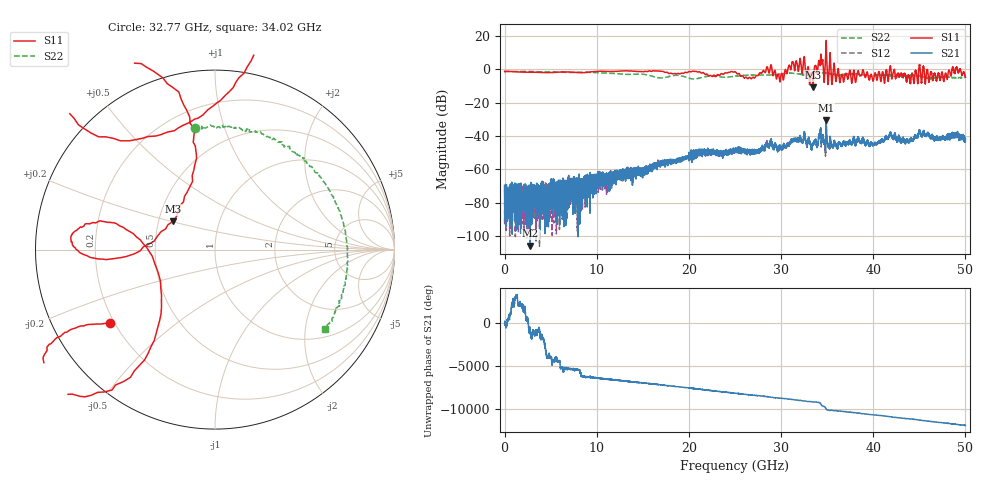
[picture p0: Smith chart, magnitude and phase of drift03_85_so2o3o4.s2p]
!Created with skrf (http://scikit-rf.org).
# Hz S RI R 50.0
!freq ReS11 ImS11 ReS21 ImS21 ReS12 ImS12 ReS22 ImS22
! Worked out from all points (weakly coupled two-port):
!   10001 points, 300 kHz to 50 GHz, reference 50 ohm
!   highest |S21| = -30.52 dB at 34.89 GHz (marker M1); lowest = -105.7 dB at 2.78 GHz (marker M2)
!   lowest |S11| = -11.0 dB at 33.47 GHz (marker M3), VSWR 1.79, Z = 29.7 + j10.1 ohm
!   |S11| at or under -10 dB: 33.45012 GHz to 33.48272 GHz (32.6 MHz wide, 0.0974 % of centre)
!   |S22| runs from -5.9 to -1.3 dB; largest |S21 - S12| = 0.0064
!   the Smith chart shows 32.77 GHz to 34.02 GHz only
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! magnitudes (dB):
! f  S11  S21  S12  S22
! 300 kHz  -1.3  -73.9  -69.1  -2.1
! 255.3 MHz  -1.3  -76.5  -84.2  -1.4
! 2.78 GHz  -1.9  -105.7  -82.9  -1.4
! 8.335 GHz  -2.2  -73.2  -70.3  -1.9
! 16.67 GHz  -1.1  -57.6  -56.7  -5.1
! 25 GHz  -1.5  -47.8  -48.1  -4.3
! 26.92 GHz  -4.9  -49.7  -49.8  -3.5
! 28.73 GHz  -2.2  -45.4  -45.6  -3.5
! 30.06 GHz  -2.5  -47.9  -47.5  -2.8
! 31.87 GHz  -1.4  -42.1  -41.8  -2.9
! 33.34 GHz  -2.1  -47.1  -46.8  -2.9
! 33.47 GHz  -11.0  -44.6  -44.8  -2.8
! 34.3 GHz  7.7  -35.4  -35.7  -2.3
! 34.89 GHz  16.5  -30.5  -32.2  -2.3
! 36.58 GHz  -3.4  -46.0  -46.0  -3.5
! 40.17 GHz  -2.4  -44.3  -43.8  -3.7
! 41.67 GHz  -5.4  -40.7  -40.2  -3.6
! 43.84 GHz  -3.6  -44.1  -43.8  -3.8
! 45.17 GHz  -4.1  -39.6  -39.0  -4.6
! 47.83 GHz  -2.5  -42.3  -41.7  -4.8
! 48.84 GHz  -2.7  -40.0  -40.3  -5.1
! 50 GHz  -4.8  -42.1  -41.4  -4.9
